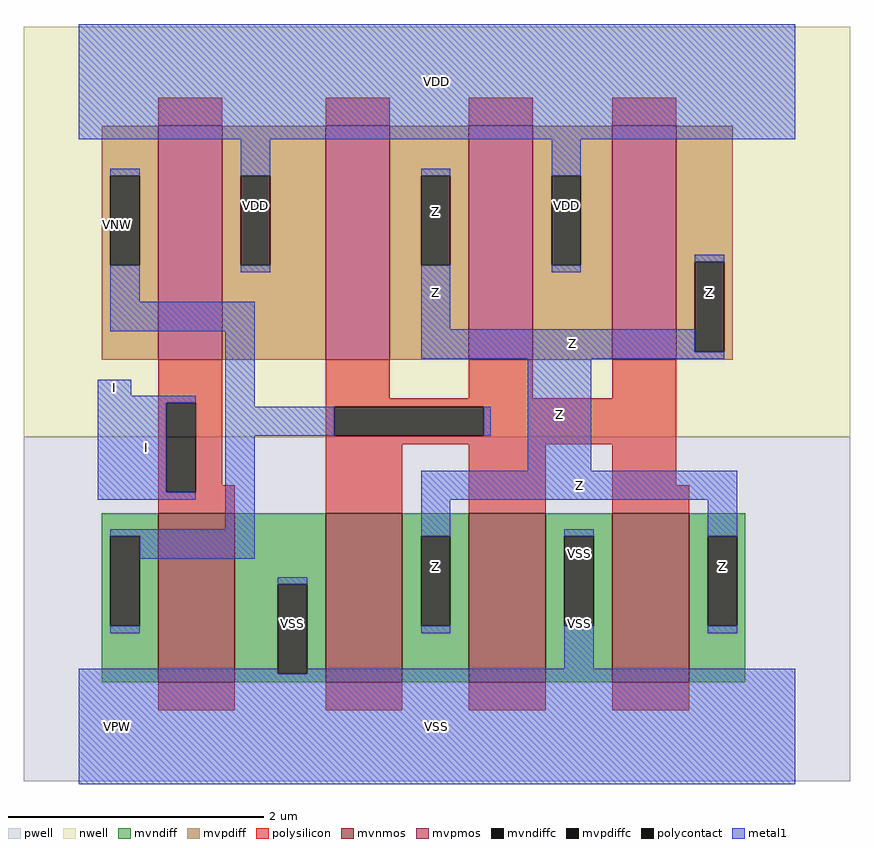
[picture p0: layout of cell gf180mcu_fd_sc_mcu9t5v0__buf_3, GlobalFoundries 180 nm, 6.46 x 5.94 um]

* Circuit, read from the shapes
.subckt gf180mcu_fd_sc_mcu9t5v0__buf_3 I Z VDD VNW VPW VSS
XM1 VSS I n1 VPW nfet_06v0 w=1.32u l=0.6u
XM2 Z n1 VSS VPW nfet_06v0 w=1.32u l=0.6u m=3
XM3 VDD I n1 VNW pfet_06v0 w=1.83u l=0.5u
XM4 Z n1 VDD VNW pfet_06v0 w=1.83u l=0.5u m=3
.ends

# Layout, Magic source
magic
tech gf180mcuD
magscale 1 10
<< nwell >>
rect -86 453 1206 1094
<< pwell >>
rect -86 -86 1206 453
<< mvnmos >>
rect 124 69 244 333
rect 386 69 506 333
rect 610 69 730 333
rect 834 69 954 333
<< mvpmos >>
rect 124 573 224 939
rect 386 573 486 939
rect 610 573 710 939
rect 834 573 934 939
<< mvndiff >>
rect 36 297 124 333
rect 36 157 49 297
rect 95 157 124 297
rect 36 69 124 157
rect 244 222 386 333
rect 244 82 311 222
rect 357 82 386 222
rect 244 69 386 82
rect 506 297 610 333
rect 506 157 535 297
rect 581 157 610 297
rect 506 69 610 157
rect 730 297 834 333
rect 730 157 759 297
rect 805 157 834 297
rect 730 69 834 157
rect 954 297 1042 333
rect 954 157 983 297
rect 1029 157 1042 297
rect 954 69 1042 157
<< mvpdiff >>
rect 36 861 124 939
rect 36 721 49 861
rect 95 721 124 861
rect 36 573 124 721
rect 224 861 386 939
rect 224 721 253 861
rect 299 721 386 861
rect 224 573 386 721
rect 486 861 610 939
rect 486 721 535 861
rect 581 721 610 861
rect 486 573 610 721
rect 710 861 834 939
rect 710 721 739 861
rect 785 721 834 861
rect 710 573 834 721
rect 934 726 1022 939
rect 934 586 963 726
rect 1009 586 1022 726
rect 934 573 1022 586
<< mvndiffc >>
rect 49 157 95 297
rect 311 82 357 222
rect 535 157 581 297
rect 759 157 805 297
rect 983 157 1029 297
<< mvpdiffc >>
rect 49 721 95 861
rect 253 721 299 861
rect 535 721 581 861
rect 739 721 785 861
rect 963 586 1009 726
<< polysilicon >>
rect 124 939 224 983
rect 386 939 486 983
rect 610 939 710 983
rect 834 939 934 983
rect 124 506 224 573
rect 124 366 137 506
rect 183 377 224 506
rect 386 513 486 573
rect 610 513 710 573
rect 834 513 934 573
rect 386 500 934 513
rect 386 454 399 500
rect 633 454 934 500
rect 386 441 934 454
rect 183 366 244 377
rect 124 333 244 366
rect 386 333 506 441
rect 610 333 730 441
rect 834 377 934 441
rect 834 333 954 377
rect 124 25 244 69
rect 386 25 506 69
rect 610 25 730 69
rect 834 25 954 69
<< polycontact >>
rect 137 366 183 506
rect 399 454 633 500
<< metal1 >>
rect 0 918 1120 1098
rect 49 861 95 872
rect 49 664 95 721
rect 253 861 299 918
rect 253 710 299 721
rect 535 861 581 872
rect 49 618 275 664
rect 30 517 82 542
rect 30 506 183 517
rect 30 366 137 506
rect 30 354 183 366
rect 229 500 275 618
rect 535 621 581 721
rect 739 861 785 918
rect 739 710 785 721
rect 963 726 1009 737
rect 535 586 963 621
rect 535 575 1009 586
rect 229 454 399 500
rect 633 454 644 500
rect 229 308 275 454
rect 702 400 801 575
rect 49 297 275 308
rect 95 262 275 297
rect 535 354 1029 400
rect 535 297 581 354
rect 49 146 95 157
rect 311 222 357 233
rect 0 82 311 90
rect 535 146 581 157
rect 759 297 805 308
rect 759 90 805 157
rect 983 297 1029 354
rect 983 146 1029 157
rect 357 82 1120 90
rect 0 -90 1120 82
<< labels >>
flabel metal1 s 30 517 82 542 0 FreeSans 200 0 0 0 I
port 1 nsew default input
flabel metal1 s 0 918 1120 1098 0 FreeSans 200 0 0 0 VDD
port 3 nsew power bidirectional abutment
flabel metal1 s 759 233 805 308 0 FreeSans 200 0 0 0 VSS
port 6 nsew ground bidirectional abutment
flabel metal1 s 535 737 581 872 0 FreeSans 200 0 0 0 Z
port 2 nsew default output
flabel nwell s 10 734 110 834 0 FreeSans 400 0 0 0 VNW
port 4 nsew power bidirectional
flabel pwell s 10 -50 110 50 0 FreeSans 400 0 0 0 VPW
port 5 nsew ground bidirectional
rlabel metal1 s 30 354 183 517 1 I
port 1 nsew default input
rlabel metal1 s 963 621 1009 737 1 Z
port 2 nsew default output
rlabel metal1 s 535 621 581 737 1 Z
port 2 nsew default output
rlabel metal1 s 535 575 1009 621 1 Z
port 2 nsew default output
rlabel metal1 s 702 400 801 575 1 Z
port 2 nsew default output
rlabel metal1 s 535 354 1029 400 1 Z
port 2 nsew default output
rlabel metal1 s 983 146 1029 354 1 Z
port 2 nsew default output
rlabel metal1 s 535 146 581 354 1 Z
port 2 nsew default output
rlabel metal1 s 739 710 785 918 1 VDD
port 3 nsew power bidirectional abutment
rlabel metal1 s 253 710 299 918 1 VDD
port 3 nsew power bidirectional abutment
rlabel metal1 s 759 90 805 233 1 VSS
port 6 nsew ground bidirectional abutment
rlabel metal1 s 311 90 357 233 1 VSS
port 6 nsew ground bidirectional abutment
rlabel metal1 s 0 -90 1120 90 1 VSS
port 6 nsew ground bidirectional abutment
<< properties >>
string FIXED_BBOX 0 0 1120 1008
string GDS_END 1269104
string GDS_FILE $PDKPATH/libs.ref/gf180mcu_fd_sc_mcu9t5v0/gds/gf180mcu_fd_sc_mcu9t5v0.gds
string GDS_START 1265242
string LEFclass core
string LEFsite GF018hv5v_green_sc9
string LEFsymmetry X Y
<< end >>
